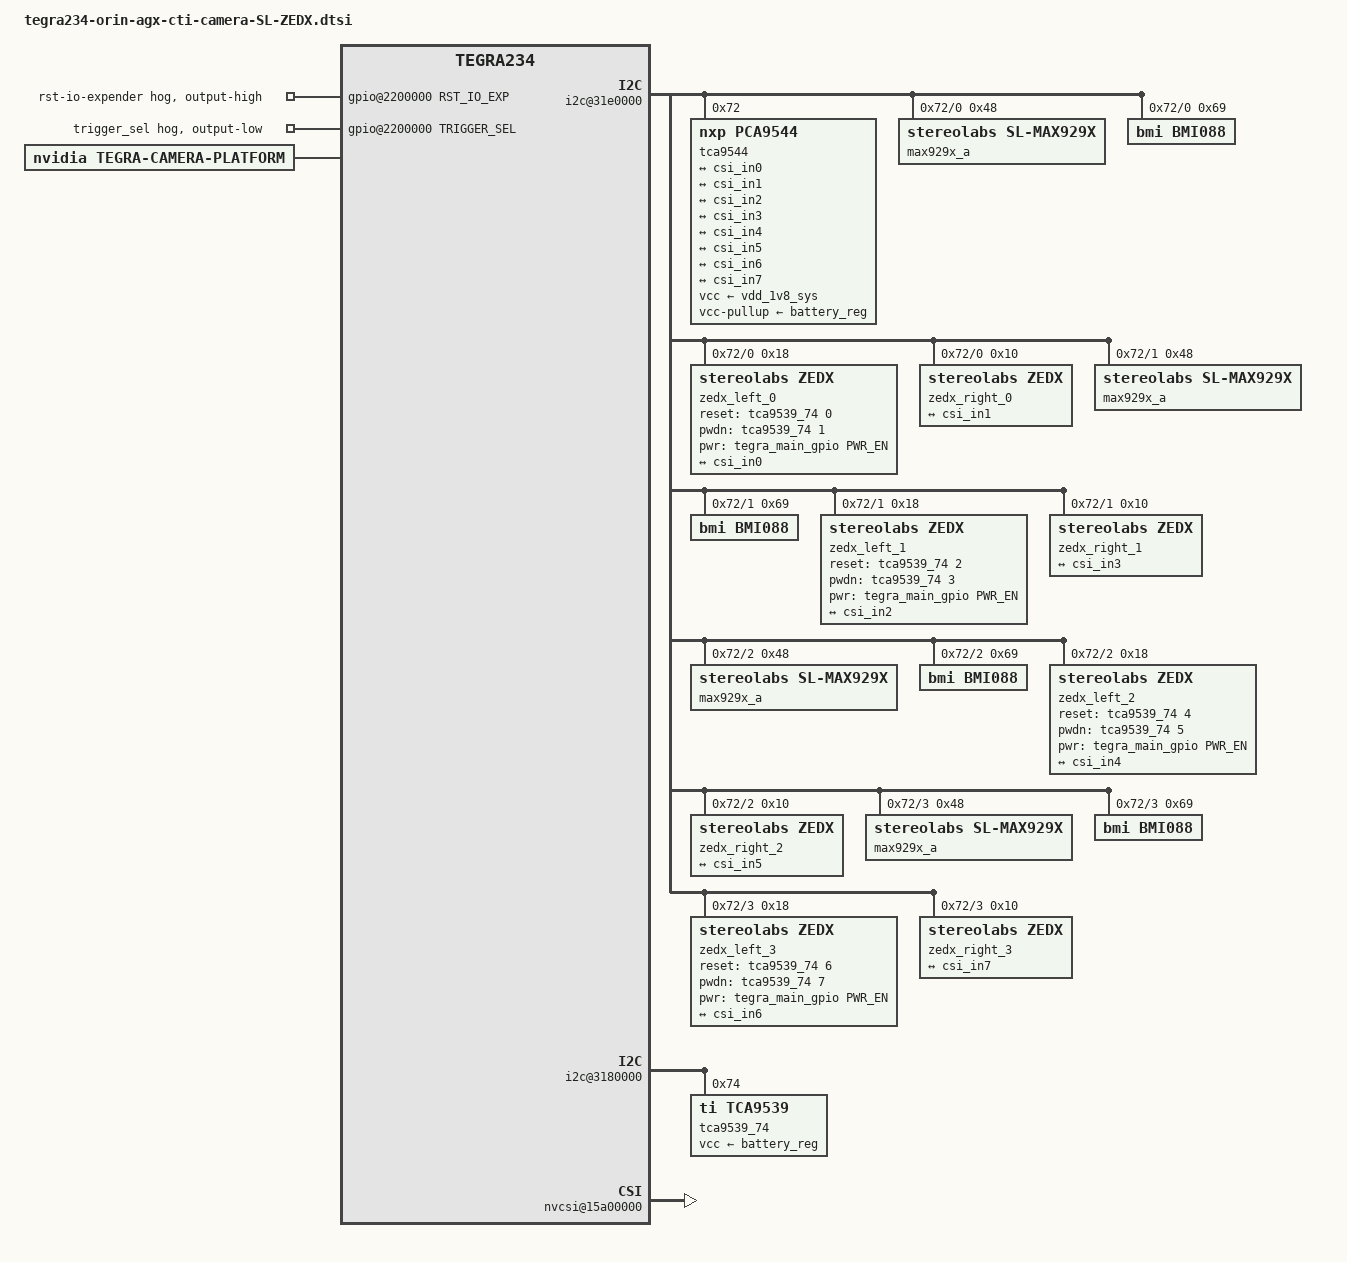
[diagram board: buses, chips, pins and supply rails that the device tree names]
/*
 * Copyright (c) 2022, Connect Tech Inc.  All rights reserved.
 *
 * This program is free software; you can redistribute it and/or modify it
 * under the terms and conditions of the GNU General Public License,
 * version 2, as published by the Free Software Foundation.
 *
 * This program is distributed in the hope it will be useful, but WITHOUT
 * ANY WARRANTY; without even the implied warranty of MERCHANTABILITY or
 * FITNESS FOR A PARTICULAR PURPOSE.  See the GNU General Public License for
 * more details.
 *
 * You should have received a copy of the GNU General Public License
 * along with this program.  If not, see <http://www.gnu.org/licenses/>.
 */

//#include "tegra234-orin-agx-cti-csi.dtsi"
#include "dt-bindings/clock/tegra234-clock.h"

#define RST_IO_EXP TEGRA234_MAIN_GPIO(AC,1)
#define PWM_CALIB_GPIO TEGRA234_MAIN_GPIO(H,7) //CAM0_PWDN
#define TRIGGER_SEL TEGRA234_MAIN_GPIO(I,0) //CAM0_RST
#define PWR_EN        TEGRA234_MAIN_GPIO(AC, 7)
#define CAM_LANES 2
#define CAM_LANES_STRING "2" 
#define TEGRA_SINTERFACE "serial_g"
#define MODE_VC "0"

#include "tegra234-orin-agx-cti-camera-SL-ZEDX-modes.dtsi"

/ {

    gpio@2200000 {
        camera-control-output-high {
            status = "okay";
            gpio-hog;
            gpios = <RST_IO_EXP 0>;
            output-high;
            label = "rst-io-expender"; 
        };
        camera-control-output-low {
            status = "okay";
            gpio-hog;
            gpios = <TRIGGER_SEL 0>;
            output-low;
            label = "trigger_sel";
        };
    };

    

    i2c@31e0000 {
    status = "okay";
    #address-cells = <1>;
    #size-cells = <0>;
    tca9544@72 {
        status = "okay";
        compatible = "nxp,pca9544";
        reg = <0x72>;
        #address-cells = <1>;
        #size-cells = <0>;
        vcc-supply = <&vdd_1v8_sys>;
        vcc-pullup-supply = <&battery_reg>;
        vcc_lp = "vcc";
        skip_mux_detect = "yes";
        force_bus_start = <0x1e>;
        i2c@0 {
            status = "okay";
            reg = <0>;
            i2c-mux,deselect-on-exit;
            #address-cells = <1>;
            #size-cells = <0>;

            /* deserializer MAX9296 at address 0x48*/
            max929x_a@48 {
                compatible = "stereolabs,sl-max929x";
                reg = <0x48>;
                channel = "a";
            };

            bmi088@69 {
                compatible = "bmi,bmi088";
                reg = <0x69>;
                status = "okay";
                accel_i2c_addr = <0x19>;
                accel_matrix = [01 00 00 00 01 00 00 00 01];
                gyro_matrix = [01 00 00 00 01 00 00 00 01];
            };
        
            /* ZED1 Left Cam*/
            zedx_left_0@18 {
                status = "okay";
                compatible = "stereolabs,zedx";
                reg = <0x18>;
                def-addr = <0x18>;
                devnode = "video0";
                /* Define any required hw resources needed by driver */
                /* ie. clocks, io pins, power sources */
                clocks = <&bpmp_clks TEGRA234_CLK_EXTPERIPH1>,
                        <&bpmp_clks TEGRA234_CLK_EXTPERIPH1>;
                clock-names = "extperiph1", "pllp_grtba";
                mclk = "extperiph1";
                channel = "a";
                mode = "master";
                has-eeprom;
                
                /* Physical dimensions of sensor */
				physical_w = "15.0";
				physical_h = "12.5";

				vertical-flip = "true";
				sensor_model ="zedx";
				sync_sensor = "ZED_CAM1";
				sync_sensor_index = <1>;
                
                post_crop_frame_drop = "0";
                use_sensor_mode_id = "true";
                
                /* For now, the master get the gpios */
                /* In the future, the deserializer will get them */
                reset-gpios = <&tca9539_74 0 GPIO_ACTIVE_HIGH>;
                pwdn-gpios = <&tca9539_74 1 GPIO_ACTIVE_HIGH>;
                pwr-gpios = <&tegra_main_gpio PWR_EN GPIO_ACTIVE_HIGH>;
                ZEDX_SENSOR_MODE0
                ZEDX_SENSOR_MODE1
                ZEDX_SENSOR_MODE2
                    
                ports {
                    #address-cells = <1>;
                    #size-cells = <0>;
                    port@0 {
                        reg = <0>;
                        cam_out0: endpoint {
                            vc-id = <0>;
                            port-index = <6>;
                            bus-width = <CAM_LANES>;
                            remote-endpoint = <&csi_in0>;
                        };
                    };
                };    

            };

            zedx_right_0@10 {
                status = "okay";
                compatible = "stereolabs,zedx";
                reg = <0x10>;
                def-addr = <0x10>;
                devnode = "video1";
                /* Define any required hw resources needed by driver */
                /* ie. clocks, io pins, power sources */
                clocks = <&bpmp_clks TEGRA234_CLK_EXTPERIPH1>,
                        <&bpmp_clks TEGRA234_CLK_EXTPERIPH1>;
                clock-names = "extperiph1", "pllp_grtba";
                mclk = "extperiph1";
                channel = "a";
                mode = "slave";
                has-eeprom;
                
                /* Physical dimensions of sensor */
				physical_w = "15.0";
				physical_h = "12.5";

				vertical-flip = "true";
				sensor_model ="zedx";
				sync_sensor = "ZED_CAM1";
				sync_sensor_index = <2>;
                
                post_crop_frame_drop = "0";
                use_sensor_mode_id = "true";
                
//#undef TEGRA_SINTERFACE
//#define TEGRA_SINTERFACE "serial_g"
#undef MODE_VC
#define MODE_VC "1"
                ZEDX_SENSOR_MODE0
                ZEDX_SENSOR_MODE1
                ZEDX_SENSOR_MODE2    
            
                ports {
                    #address-cells = <1>;
                    #size-cells = <0>;
                    port@0 {
                        reg = <0>;
                        cam_out1: endpoint {
                            vc-id = <1>;
                            port-index = <6>;
                            bus-width = <CAM_LANES>;
                            remote-endpoint = <&csi_in1>;
                        };
                    };
                };    
            };
         
        };

        i2c@1 {
        status = "okay";
        reg = <1>;
        i2c-mux,deselect-on-exit;
        #address-cells = <1>;
        #size-cells = <0>;
        
        /* deserializer MAX9296 at address 0x48*/
        max929x_a@48 {
            compatible = "stereolabs,sl-max929x";
            reg = <0x48>;
            channel = "b";
        };

        bmi088@69 {
            compatible = "bmi,bmi088";
            reg = <0x69>;
            status = "okay";
            accel_i2c_addr = <0x19>;
            accel_matrix = [01 00 00 00 01 00 00 00 01];
            gyro_matrix = [01 00 00 00 01 00 00 00 01];
            //accelerometer_irq_gpio = //figure out later
        };
    
        zedx_left_1@18 {
                status = "okay";
                compatible = "stereolabs,zedx";
                reg = <0x18>;
                def-addr = <0x18>;
                devnode = "video2";
                /* Define any required hw resources needed by driver */
                /* ie. clocks, io pins, power sources */
                clocks = <&bpmp_clks TEGRA234_CLK_EXTPERIPH1>,
                        <&bpmp_clks TEGRA234_CLK_EXTPERIPH1>;
                clock-names = "extperiph1", "pllp_grtba";
                mclk = "extperiph1";
                channel = "b";
                mode = "master";
                has-eeprom;
                
                /* Physical dimensions of sensor */
				physical_w = "15.0";
				physical_h = "12.5";

				vertical-flip = "true";
				sensor_model ="zedx";
				sync_sensor = "ZED_CAM2";
				sync_sensor_index = <1>;
                
                post_crop_frame_drop = "0";
                use_sensor_mode_id = "true";
                
                /* For now, the master get the gpios */
                /* In the future, the deserializer will get them */
                reset-gpios = <&tca9539_74 2 GPIO_ACTIVE_HIGH>;
                pwdn-gpios = <&tca9539_74 3 GPIO_ACTIVE_HIGH>;
                pwr-gpios = <&tegra_main_gpio PWR_EN GPIO_ACTIVE_HIGH>;
#undef TEGRA_SINTERFACE
#define TEGRA_SINTERFACE "serial_e"
#undef MODE_VC
#define MODE_VC "0"    

            ZEDX_SENSOR_MODE0
                ZEDX_SENSOR_MODE1
                ZEDX_SENSOR_MODE2
    
            ports {
                #address-cells = <1>;
                #size-cells = <0>;
                port@0 {
                    reg = <0>;
                    cam_out2: endpoint {
                        vc-id = <0>;
                        port-index = <4>;
                        bus-width = <CAM_LANES>;
                        remote-endpoint = <&csi_in2>;
                    };
                };
            };    

        };

        zedx_right_1@10 {
                status = "okay";
                compatible = "stereolabs,zedx";
                reg = <0x10>;
                def-addr = <0x10>;
                devnode = "video3";
                /* Define any required hw resources needed by driver */
                /* ie. clocks, io pins, power sources */
                clocks = <&bpmp_clks TEGRA234_CLK_EXTPERIPH1>,
                        <&bpmp_clks TEGRA234_CLK_EXTPERIPH1>;
                clock-names = "extperiph1", "pllp_grtba";
                mclk = "extperiph1";
                channel = "b";
                mode = "slave";
                has-eeprom;
                
                /* Physical dimensions of sensor */
				physical_w = "15.0";
				physical_h = "12.5";

				vertical-flip = "true";
				sensor_model ="zedx";
				sync_sensor = "ZED_CAM2";
				sync_sensor_index = <2>;
                
                post_crop_frame_drop = "0";
                use_sensor_mode_id = "true";
#undef MODE_VC
#define MODE_VC "1"
            ZEDX_SENSOR_MODE0
                ZEDX_SENSOR_MODE1
                ZEDX_SENSOR_MODE2
        
            ports {
                #address-cells = <1>;
                #size-cells = <0>;
                port@0 {
                    reg = <0>;
                    cam_out3: endpoint {
                        vc-id = <1>;
                        port-index = <4>;
                        bus-width = <CAM_LANES>;
                        remote-endpoint = <&csi_in3>;
                    };
                };
            };    
        };
        };


        i2c@2 {
            status = "okay";
            reg = <2>;
            i2c-mux,deselect-on-exit;
            #address-cells = <1>;
            #size-cells = <0>;
        
            /* deserializer MAX9296 at address 0x48*/
            max929x_a@48 {
                compatible = "stereolabs,sl-max929x";
                reg = <0x48>;
                channel = "c";
            };

            bmi088@69 {
                compatible = "bmi,bmi088";
                reg = <0x69>;
                status = "okay";
                accel_i2c_addr = <0x19>;
                accel_matrix = [01 00 00 00 01 00 00 00 01];
                gyro_matrix = [01 00 00 00 01 00 00 00 01];
                //accelerometer_irq_gpio = //figure out later
            };


            zedx_left_2@18 {
                status = "okay";
                compatible = "stereolabs,zedx";
                reg = <0x18>;
                def-addr = <0x18>;
                devnode = "video4";
                /* Define any required hw resources needed by driver */
                /* ie. clocks, io pins, power sources */
                clocks = <&bpmp_clks TEGRA234_CLK_EXTPERIPH1>,
                        <&bpmp_clks TEGRA234_CLK_EXTPERIPH1>;
                clock-names = "extperiph1", "pllp_grtba";
                mclk = "extperiph1";
                channel = "c";
                mode = "master";
                has-eeprom;
                
                /* Physical dimensions of sensor */
				physical_w = "15.0";
				physical_h = "12.5";

				vertical-flip = "true";
				sensor_model ="zedx";
				sync_sensor = "ZED_CAM3";
				sync_sensor_index = <1>;
                
                post_crop_frame_drop = "0";
                use_sensor_mode_id = "true";
                
                /* For now, the master get the gpios */
                /* In the future, the deserializer will get them */
                reset-gpios = <&tca9539_74 4 GPIO_ACTIVE_HIGH>;
                pwdn-gpios = <&tca9539_74 5 GPIO_ACTIVE_HIGH>;
                pwr-gpios = <&tegra_main_gpio PWR_EN GPIO_ACTIVE_HIGH>;
#undef TEGRA_SINTERFACE
#define TEGRA_SINTERFACE "serial_c"
#undef MODE_VC
#define MODE_VC "0"    

                ZEDX_SENSOR_MODE0
                ZEDX_SENSOR_MODE1
                ZEDX_SENSOR_MODE2
        
                ports {
                    #address-cells = <1>;
                    #size-cells = <0>;
                    port@0 {
                        reg = <0>;
                        cam_out4: endpoint {
                            vc-id = <0>;
                            port-index = <2>;
                            bus-width = <CAM_LANES>;
                            remote-endpoint = <&csi_in4>;
                        };
                    };
                };    

            };

            zedx_right_2@10 {
                status = "okay";
                compatible = "stereolabs,zedx";
                reg = <0x10>;
                def-addr = <0x10>;
                devnode = "video5";
                /* Define any required hw resources needed by driver */
                /* ie. clocks, io pins, power sources */
                clocks = <&bpmp_clks TEGRA234_CLK_EXTPERIPH1>,
                        <&bpmp_clks TEGRA234_CLK_EXTPERIPH1>;
                clock-names = "extperiph1", "pllp_grtba";
                mclk = "extperiph1";
                channel = "c";
                mode = "slave";
                has-eeprom;
                
                /* Physical dimensions of sensor */
				physical_w = "15.0";
				physical_h = "12.5";

				vertical-flip = "true";
				sensor_model ="zedx";
				sync_sensor = "ZED_CAM3";
				sync_sensor_index = <2>;
                
                post_crop_frame_drop = "0";
                use_sensor_mode_id = "true";
#undef MODE_VC
#define MODE_VC "1"
                ZEDX_SENSOR_MODE0
                ZEDX_SENSOR_MODE1
                ZEDX_SENSOR_MODE2
            
                ports {
                    #address-cells = <1>;
                    #size-cells = <0>;
                    port@0 {
                        reg = <0>;
                        cam_out5: endpoint {
                            vc-id = <1>;
                            port-index = <2>;
                            bus-width = <CAM_LANES>;
                            remote-endpoint = <&csi_in5>;
                        };
                    };
                };    
            };
        };
                
        i2c@3 {
        status = "okay";
        reg = <3>;
        i2c-mux,deselect-on-exit;
        #address-cells = <1>;
        #size-cells = <0>;
                

        /* deserializer MAX9296 at address 0x48*/
        max929x_a@48 {
            compatible = "stereolabs,sl-max929x";
            reg = <0x48>;
            channel = "d";
        };

        bmi088@69 {
            compatible = "bmi,bmi088";
            reg = <0x69>;
            status = "okay";
            accel_i2c_addr = <0x19>;
            accel_matrix = [01 00 00 00 01 00 00 00 01];
            gyro_matrix = [01 00 00 00 01 00 00 00 01];
            //accelerometer_irq_gpio = //figure out later
        };
        zedx_left_3@18 {
                status = "okay";
                compatible = "stereolabs,zedx";
                reg = <0x18>;
                def-addr = <0x18>;
                devnode = "video6";
                /* Define any required hw resources needed by driver */
                /* ie. clocks, io pins, power sources */
                clocks = <&bpmp_clks TEGRA234_CLK_EXTPERIPH1>,
                        <&bpmp_clks TEGRA234_CLK_EXTPERIPH1>;
                clock-names = "extperiph1", "pllp_grtba";
                mclk = "extperiph1";
                channel = "d";
                mode = "master";
                has-eeprom;
                
                /* Physical dimensions of sensor */
				physical_w = "15.0";
				physical_h = "12.5";

				vertical-flip = "true";
				sensor_model ="zedx";
				sync_sensor = "ZED_CAM4";
				sync_sensor_index = <1>;
                
                post_crop_frame_drop = "0";
                use_sensor_mode_id = "true";
                
                /* For now, the master get the gpios */
                /* In the future, the deserializer will get them */
                reset-gpios = <&tca9539_74 6 GPIO_ACTIVE_HIGH>;
                pwdn-gpios = <&tca9539_74 7 GPIO_ACTIVE_HIGH>;
                pwr-gpios = <&tegra_main_gpio PWR_EN GPIO_ACTIVE_HIGH>;
#undef TEGRA_SINTERFACE
#define TEGRA_SINTERFACE "serial_a"
#undef MODE_VC
#define MODE_VC "0"    

            ZEDX_SENSOR_MODE0
                ZEDX_SENSOR_MODE1
                ZEDX_SENSOR_MODE2
    
            ports {
                #address-cells = <1>;
                #size-cells = <0>;
                port@0 {
                    reg = <0>;
                    cam_out6: endpoint {
                        vc-id = <0>;
                        port-index = <0>;
                        bus-width = <CAM_LANES>;
                        remote-endpoint = <&csi_in6>;
                    };
                };
            };    

        };

        zedx_right_3@10 {
                status = "okay";
                compatible = "stereolabs,zedx";
                reg = <0x10>;
                def-addr = <0x10>;
                devnode = "video7";
                /* Define any required hw resources needed by driver */
                /* ie. clocks, io pins, power sources */
                clocks = <&bpmp_clks TEGRA234_CLK_EXTPERIPH1>,
                        <&bpmp_clks TEGRA234_CLK_EXTPERIPH1>;
                clock-names = "extperiph1", "pllp_grtba";
                mclk = "extperiph1";
                channel = "d";
                mode = "slave";
                has-eeprom;
                
                /* Physical dimensions of sensor */
				physical_w = "15.0";
				physical_h = "12.5";

				vertical-flip = "true";
				sensor_model ="zedx";
				sync_sensor = "ZED_CAM4";
				sync_sensor_index = <2>;
                
                post_crop_frame_drop = "0";
                use_sensor_mode_id = "true";
#undef MODE_VC
#define MODE_VC "1"
            ZEDX_SENSOR_MODE0
                ZEDX_SENSOR_MODE1
                ZEDX_SENSOR_MODE2
        
            ports {
                #address-cells = <1>;
                #size-cells = <0>;
                port@0 {
                    reg = <0>;
                    cam_out7: endpoint {
                        vc-id = <1>;
                        port-index = <0>;
                        bus-width = <CAM_LANES>;
                        remote-endpoint = <&csi_in7>;
                    };
                };
            };    
        };
        
        };
        };
    };

    i2c@3180000 {
        status = "okay";
        #address-cells = <1>;
        #size-cells = <0>;
        tca9539_74: tca9539@74 {
            compatible = "ti,tca9539";
            gpio-controller;
            #gpio-cells = <2>;
            ngpios = <16>;
            reg = <0x74>;
            vcc-supply = <&battery_reg>;
            status = "okay";
            
            tca9539_74_outlow {
                status = "okay";
                gpio-hog;
                gpios = <0 0 1 0 2 0 3 0 4 0 5 0 6 0 7 0 8 0 9 0 10 0 11 0 12 0 13 0>;
                output-low;
                label = "RST_A","PWDN_A","RST_B","PWDN_B","RST_C","PWDN_C","RST_D","PWDN_D";
            };
            tca9539_74_outhigh {
                status = "disabled";
            };
            tca9539_74_input {
                status = "disabled";
            };
        };
    };
    tegra-capture-vi {
        status = "okay";
        num-channels = <8>;
        ports {
        #address-cells = <1>;
        #size-cells = <0>;
        status = "okay";
            port@0 {
        reg = <0>;
                status = "okay";
                vi_in0: endpoint {
            vc-id = <0>;
                    port-index = <5>;
                    status = "okay";
                    bus-width = <CAM_LANES>;
            remote-endpoint = <&csi_out0>;
                };
            };
            port@1 {
                status = "okay";
        reg = <1>;
                vi_in1: endpoint {
            vc-id = <1>;
                    port-index = <5>;
                    status = "okay";
                    bus-width = <CAM_LANES>;
            remote-endpoint = <&csi_out1>;
                };
            };
        port@2 {
        status = "okay";
        reg = <2>;
        vi_in2: endpoint {
            vc-id = <0>;
            port-index = <4>;
            bus-width = <CAM_LANES>;
            remote-endpoint = <&csi_out2>;
            status = "okay";
        };
        };
        port@3{
        status = "okay";
        reg = <3>;
        vi_in3: endpoint {
            vc-id = <1>;
            port-index = <4>;
            bus-width = <CAM_LANES>;
            remote-endpoint = <&csi_out3>;
            status = "okay";
        };
        };
        port@4 {
        status = "okay";
        reg = <4>;
        vi_in4: endpoint {
            vc-id = <0>;
            port-index = <2>;
            bus-width = <CAM_LANES>;
            remote-endpoint = <&csi_out4>;
            status = "okay";
        };
        };
        port@5 {
        status = "okay";
        reg = <5>;
        vi_in5: endpoint {
            vc-id = <1>;
            port-index = <2>;
            bus-width = <CAM_LANES>;
            remote-endpoint = <&csi_out5>;
            status = "okay";
        };
        };
            port@6 {
                status = "okay";
        reg = <6>;
                vi_in6: endpoint {
                    port-index = <0>;
                    status = "okay";
                    bus-width = <CAM_LANES>;
            vc-id = <0>;
            remote-endpoint = <&csi_out6>;
                };
            };
            port@7 {
                status = "okay";
        reg = <7>;
                vi_in7: endpoint {
                    port-index = <0>;
                    status = "okay";
                    bus-width = <CAM_LANES>;
            vc-id = <1>;
            remote-endpoint = <&csi_out7>;
                };
            };
        };
    };

    host1x@13e00000 {
        nvcsi@15a00000 {
        num-channels = <8>;
        #address-cells = <1>;
        #size-cells = <0>;
            status = "okay";
            channel@0 {
                status = "okay";
        reg = <0>;
                ports {
            #address-cells = <1>;
            #size-cells = <0>;
                    port@0 {
                        status = "okay";
            reg = <0>;
                        csi_in0: endpoint@0 {
                            status = "okay";
                            port-index = <6>;
                vc-id = <0>;
                bus-width = <CAM_LANES>;
                            remote-endpoint = <&cam_out0>;
                        };
                    };
                    port@1 {
                        status = "okay";
            reg = <1>;
                        csi_out0: endpoint@1 {
                            status = "okay";
                port-index = <6>;
                vc-id = <0>;
                bus-width = <CAM_LANES>;
                remote-endpoint = <&vi_in0>;
                        };
                    };
                };
            };
            channel@1 {
                status = "okay";
        reg = <1>;
                ports {
            #address-cells = <1>;
            #size-cells = <0>;
                    
            port@0 {
            reg = <0>;
                        status = "okay";
                        csi_in1: endpoint@2 {
                            status = "okay";
                port-index = <6>;
                vc-id = <1>;
                            bus-width = <CAM_LANES>;
                            remote-endpoint = <&cam_out1>;
                        };
                    };
                    port@1 {
                        status = "okay";
            reg = <1>;
                        csi_out1: endpoint@3 {
                            status = "okay";
                port-index = <6>;
                vc-id = <1>;
                bus-width = <CAM_LANES>;
                remote-endpoint = <&vi_in1>;
                        };
                    };
                };
            };
        channel@2 {
                status = "okay";
        reg = <2>;
                ports {
            #address-cells = <1>;
            #size-cells = <0>;
                    port@0 {
                        status = "okay";
            reg = <0>;
                        csi_in2: endpoint@4 {
                            status = "okay";
                            port-index = <4>;
                bus-width = <CAM_LANES>;
                            remote-endpoint = <&cam_out2>;
                        };
                    };
                    port@1 {
                        status = "okay";
            reg = <1>;
                        csi_out2: endpoint@5 {
                            status = "okay";
                port-index = <4>;
                bus-width = <CAM_LANES>;
                remote-endpoint = <&vi_in2>;
                        };
                    };
                };
            };
            channel@3 {
                status = "okay";
        reg = <3>;
                ports {
            #address-cells = <1>;
            #size-cells = <0>;
                    
            port@0 {
            reg = <0>;
                        status = "okay";
                        csi_in3: endpoint@6 {
                            status = "okay";
                port-index = <4>;
                            bus-width = <CAM_LANES>;
                            remote-endpoint = <&cam_out3>;
                        };
                    };
                    port@1 {
                        status = "okay";
            reg = <1>;
                        csi_out3: endpoint@7 {
                            status = "okay";
                port-index = <4>;
                bus-width = <CAM_LANES>;
                remote-endpoint = <&vi_in3>;
                        };
                    };
                };
            };
        channel@4 {
                status = "okay";
        reg = <4>;
                ports {
            #address-cells = <1>;
            #size-cells = <0>;
                    port@0 {
                        status = "okay";
            reg = <0>;
                        csi_in4: endpoint@8 {
                            status = "okay";
                            port-index = <2>;
                bus-width = <CAM_LANES>;
                            remote-endpoint = <&cam_out4>;
                        };
                    };
                    port@1 {
                        status = "okay";
            reg = <1>;
                        csi_out4: endpoint@9 {
                            status = "okay";
                port-index = <2>;
                bus-width = <CAM_LANES>;
                remote-endpoint = <&vi_in4>;
                        };
                    };
                };
            };
            channel@5 {
                status = "okay";
        reg = <5>;
                ports {
            #address-cells = <1>;
            #size-cells = <0>;
                    
            port@0 {
            reg = <0>;
                        status = "okay";
                        csi_in5: endpoint@10 {
                            status = "okay";
                port-index = <2>;
                            bus-width = <CAM_LANES>;
                            remote-endpoint = <&cam_out5>;
                        };
                    };
                    port@1 {
                        status = "okay";
            reg = <1>;
                        csi_out5: endpoint@11 {
                            status = "okay";
                port-index = <2>;
                bus-width = <CAM_LANES>;
                remote-endpoint = <&vi_in5>;
                        };
                    };
                };
            };

            channel@6 {
                status = "okay";
        reg = <6>;
                ports {
            #address-cells = <1>;
            #size-cells = <0>;
                    port@0 {
            reg = <0>;
                        status = "okay";
                        csi_in6: endpoint@12 {
                            status = "okay";
                            bus-width = <CAM_LANES>;
                port-index = <0>;
                remote-endpoint = <&cam_out6>;
                        };
                    };
                    port@1 {
                        status = "okay";
                        reg = <1>;
            csi_out6: endpoint@13 {
                            status = "okay";
                remote-endpoint = <&vi_in6>;
                        };
                    };
                };
            };

            channel@7 {
                status = "okay";
        reg = <7>;
                ports {
            #address-cells = <1>;
            #size-cells = <0>;
                    port@0 {
            reg = <0>;
                        status = "okay";
                        csi_in7: endpoint@14 {
                            status = "okay";
                            bus-width = <CAM_LANES>;
                port-index = <0>;
                remote-endpoint = <&cam_out7>;
                        };
                    };
                    port@1 {
                        status = "okay";
            reg = <1>;
                        csi_out7: endpoint@15 {
                            status = "okay";
                remote-endpoint = <&vi_in7>;
                        };
                    };
                };
            };
        };
    };


    tegra-camera-platform {
        num_csi_lanes = <8>;
        max_lane_speed = <4000000>;
        min_bits_per_pixel = <10>;
        vi_peak_byte_per_pixel = <2>;
        vi_bw_margin_pct = <25>;
    //max_pixel_rate = <750000>;
        isp_peak_byte_per_pixel = <5>;
        isp_bw_margin_pct = <25>;
    compatible = "nvidia, tegra-camera-platform";
    status = "okay";
        
    modules {
        status = "okay";
        module0 {
            status = "okay";
            badge = "zedx_ar0234";
            position = "bottomleft";
            orientation = "1";
            drivernode0 {
                status = "okay";
                pcl_id = "v4l2_sensor";
                devname = "zedx 30-0018";
                proc-device-tree = "/proc/device-tree/i2c@31e0000/tca9544@72/i2c@0/zedx_left_0@18";
            };
            
        };
        module1 {
            status = "okay";
            badge = "zedx_ar0234";
            position = "bottomright";
            orientation = "1";
            drivernode0 {
                status = "okay";
                pcl_id = "v4l2_sensor";
                devname = "zedx 30-0010";
                proc-device-tree = "/proc/device-tree/i2c@31e0000/tca9544@72/i2c@0/zedx_right_0@10";    
            };
        };
        module2 {
            status = "okay";
            badge = "zedx_ar0234";
            position = "topleft";
            orientation = "1";
            drivernode0 {
                status = "okay";
                pcl_id = "v4l2_sensor";
                devname = "zedx 31-0018";
                proc-device-tree = "/proc/device-tree/i2c@31e0000/tca9544@72/i2c@1/zedx_left_1@18";
            };
        };
        module3 {
            status = "okay";
            badge = "zedx_ar0234";
            position = "topright";
            orientation = "1";
            drivernode0 {
                status = "okay";
                pcl_id = "v4l2_sensor";
                devname = "zedx 31-0010";
                proc-device-tree = "/proc/device-tree/i2c@31e0000/tca9544@72/i2c@1/zedx_right_1@10";
            };
        };
        module4 {
            status = "okay";
            badge = "zedx_ar0234";
            position = "centerleft";
            orientation = "1";
            drivernode0 {
                status = "okay";
                pcl_id = "v4l2_sensor";
                devname = "zedx 32-0018";
                proc-device-tree = "/proc/device-tree/i2c@31e0000/tca9544@72/i2c@2/zedx_left_2@18";
            };
        };
        module5 {
            status = "okay";
            badge = "zedx_ar0234";
            position = "centerright";
            orientation = "1";
            drivernode0 {
                status = "okay";
                pcl_id = "v4l2_sensor";
                devname = "zedx 32-0010";
                proc-device-tree = "/proc/device-tree/i2c@31e0000/tca9544@72/i2c@2/zedx_right_2@10";
            };
        };
        module6 {
            status = "okay";
            badge = "zedx_ar0234";
            position = "backleft";
            orientation = "1";
            drivernode0 {
                status = "okay";
                pcl_id = "v4l2_sensor";
                devname = "zedx 33-0018";
                proc-device-tree = "/proc/device-tree/i2c@31e0000/tca9544@72/i2c@3/zedx_left_3@18";
            };
        };
        module7 {
            status = "okay";
            badge = "zedx_ar0234";
            position = "backright";
            orientation = "1";
            drivernode0 {
                status = "okay";
                pcl_id = "v4l2_sensor";
                devname = "zedx 33-0010";
                proc-device-tree = "/proc/device-tree/i2c@31e0000/tca9544@72/i2c@3/zedx_right_3@10";
            };
        };
        
        };
    };
};
